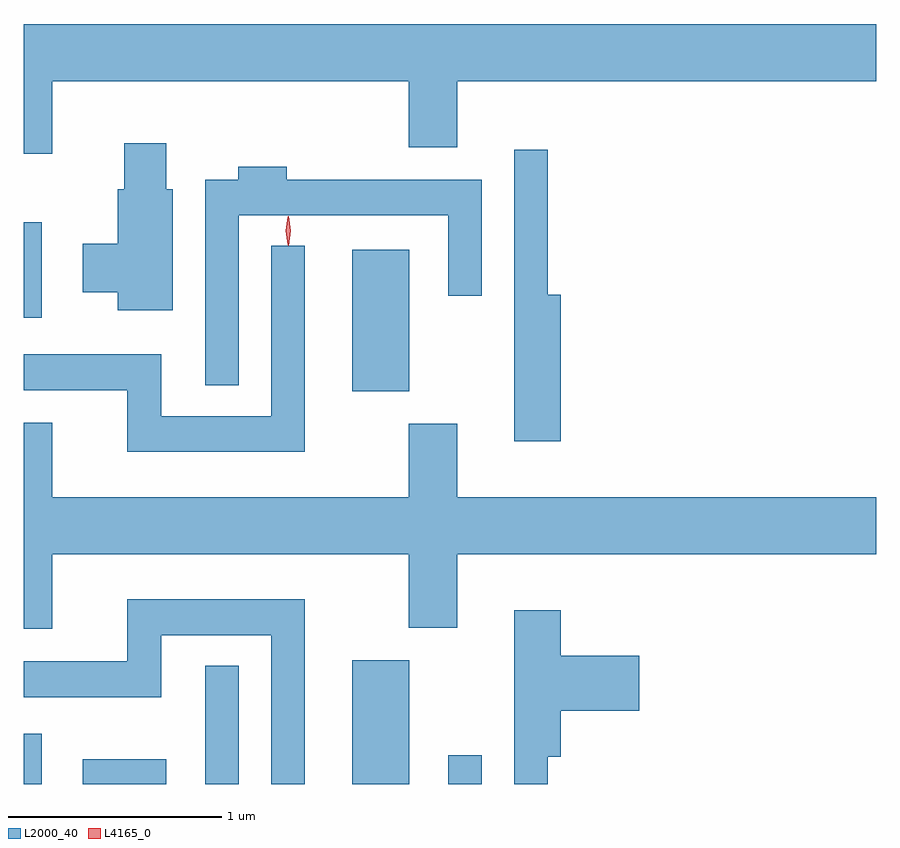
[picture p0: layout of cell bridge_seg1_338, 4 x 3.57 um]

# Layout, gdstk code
import gdstk
lib = gdstk.Library(unit=1e-6, precision=1e-09)
def R(c, l, rs):  # rectangles x0, y0, x1, y1
    for r in rs: c.add(gdstk.rectangle(r[:2], r[2:], *l))
def P(c, l, *ps):  # polygons
    for p in ps: c.add(gdstk.Polygon(p, *l))
L2000_40 = (2000, 40)
L4165_0 = (4165, 0)

bridge_seg1_338 = lib.new_cell('bridge_seg1_338')
R(bridge_seg1_338, L2000_40, [(941.505,874.078,941.589,874.314), (941.781,874.078,942.174,874.194), (942.356,874.078,942.514,874.633), (943.046,874.078,943.314,874.659), (943.496,874.078,943.654,874.213), (943.046,875.921,943.314,876.584), (941.505,876.266,941.589,876.714)])
P(bridge_seg1_338, L2000_40, [(941.639,877.376),(943.311,877.376),(943.311,877.066),(943.539,877.066),(943.539,877.376),(945.505,877.376),(945.505,877.644),(941.505,877.644),(941.505,877.036),(941.639,877.036)],
  [(942.204,876.869),(942.174,876.869),(942.174,877.084),(941.976,877.084),(941.976,876.869),(941.946,876.869),(941.946,876.614),(941.781,876.614),(941.781,876.386),(941.946,876.386),(941.946,876.301),(942.204,876.301)],
  [(944.024,876.374),(943.964,876.374),(943.964,877.053),(943.806,877.053),(943.806,875.686),(944.024,875.686)],
  [(942.514,876.746),(943.496,876.746),(943.496,876.368),(943.654,876.368),(943.654,876.914),(942.739,876.914),(942.739,876.974),(942.511,876.974),(942.511,876.914),(942.356,876.914),(942.356,875.948),(942.514,875.948)],
  [(942.824,876.603),(942.666,876.603),(942.666,875.804),(942.149,875.804),(942.149,876.094),(941.505,876.094),(941.505,875.926),(941.991,875.926),(941.991,875.636),(942.824,875.636)],
  [(941.639,875.156),(943.311,875.156),(943.311,874.811),(943.539,874.811),(943.539,875.156),(945.505,875.156),(945.505,875.424),(943.539,875.424),(943.539,875.769),(943.311,875.769),(943.311,875.424),(941.639,875.424),(941.639,875.774),(941.505,875.774),(941.505,874.806),(941.639,874.806)],
  [(942.824,874.944),(941.991,874.944),(941.991,874.654),(941.505,874.654),(941.505,874.486),(942.149,874.486),(942.149,874.776),(942.666,874.776),(942.666,874.078),(942.824,874.078)],
  [(943.964,874.206),(944.024,874.206),(944.024,874.421),(944.394,874.421),(944.394,874.679),(944.024,874.679),(944.024,874.894),(943.806,874.894),(943.806,874.078),(943.964,874.078)])
P(bridge_seg1_338, L4165_0, [(942.747,876.604),(942.738,876.673),(942.747,876.742),(942.748,876.743),(942.748,876.742),(942.758,876.673),(942.748,876.604),(942.748,876.604)],
  [(942.745,876.607),(942.744,876.608),(942.735,876.674),(942.744,876.74),(942.745,876.741),(942.745,876.74),(942.755,876.674),(942.745,876.608)])

lib.write_gds('bridge_seg1_338.gds')
